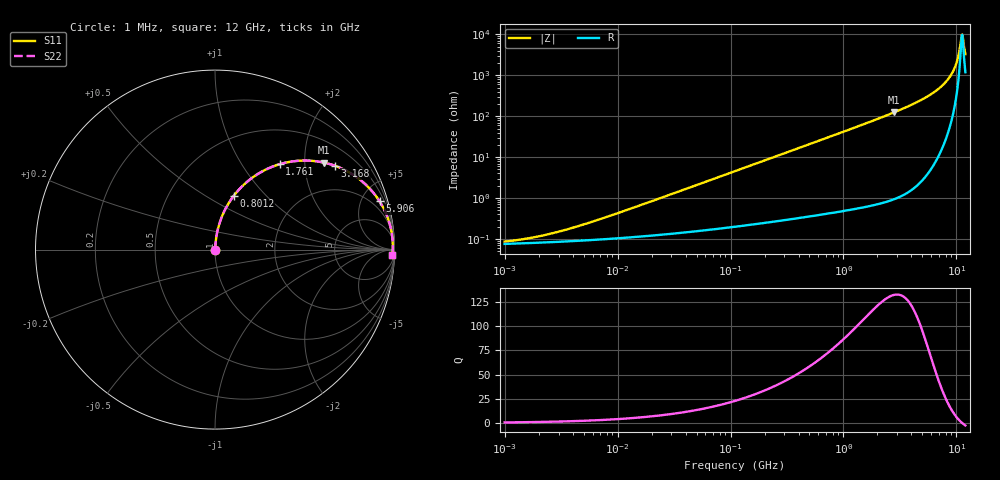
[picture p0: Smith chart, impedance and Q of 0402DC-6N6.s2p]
# MHz  S  MA  R  50
!Freq  MagS11  AngS11  MagS21  AngS21  MagS12  AngS12  MagS22  AngS22
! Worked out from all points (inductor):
!   801 points, 1 MHz to 12 GHz, reference 50 ohm
!   read as one part in series: L = 6.6 nH near 7.116 MHz
!   highest Q = 132 at 2.817 GHz (marker M1), where L = 7.04 nH
!   self-resonance near 11.14 GHz
!   S11 on the Smith chart (normalised r, x): 1 MHz: 1.00, +0.00; 801.2 MHz: 1.01, +0.67; 1.761 GHz: 1.01, +1.50; 3.168 GHz: 1.02, +2.86; 5.906 GHz: 1.10, +6.77; 12 GHz: 25, -61
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1  0.0008656 28.6  0.9992 -0.0  0.9992 -0.0  0.0008656 28.6
2.121332  0.001202 47.0  0.9992 -0.1  0.9992 -0.1  0.001202 47.0
4.828773  0.0022 65.3  0.9991 -0.1  0.9991 -0.1  0.0022 65.3
23.04466  0.009626 82.0  0.9987 -0.5  0.9987 -0.5  0.009626 82.0
109.9775  0.04552 84.9  0.997 -2.6  0.997 -2.6  0.04552 84.9
259.3234  0.1067 82.4  0.9916 -6.1  0.9916 -6.1  0.1067 82.4
524.8526  0.2124 76.8  0.9736 -12.3  0.9736 -12.3  0.2124 76.8
801.2254  0.3156 70.9  0.9448 -18.4  0.9448 -18.4  0.3156 70.9
1194.718  0.4462 62.9  0.8903 -26.5  0.8903 -26.5  0.4462 62.9
1760.65  0.5968 52.9  0.7972 -36.6  0.7972 -36.6  0.5968 52.9
2534.394  0.7394 41.9  0.6676 -47.7  0.6676 -47.7  0.7394 41.9
2817.108  0.7772 38.6  0.6234 -51.0  0.6234 -51.0  0.7772 38.6
3168.371  0.8162 34.9  0.5716 -54.7  0.5716 -54.7  0.8162 34.9
5906.209  0.9553 16.4  0.282 -72.8  0.282 -72.8  0.9553 16.4
7559.225  0.98 9.8  0.1709 -78.4  0.1709 -78.4  0.98 9.8
9016.255  0.9888 5.4  0.09406 -80.5  0.09406 -80.5  0.9888 5.4
9904.949  0.9907 3.1  0.05399 -78.5  0.05399 -78.5  0.9907 3.1
10260.35  0.9909 2.2  0.03925 -75.5  0.03925 -75.5  0.9909 2.2
10881.24  0.9906 0.8  0.01623 -54.4  0.01623 -54.4  0.9906 0.8
11139.99  0.9903 0.2  0.01021 -18.9  0.01021 -18.9  0.9903 0.2
11539.7  0.9897 -0.7  0.01551 47.9  0.01551 47.9  0.9897 -0.7
12000  0.9886 -1.6  0.03027 67.1  0.03027 67.1  0.9886 -1.6
